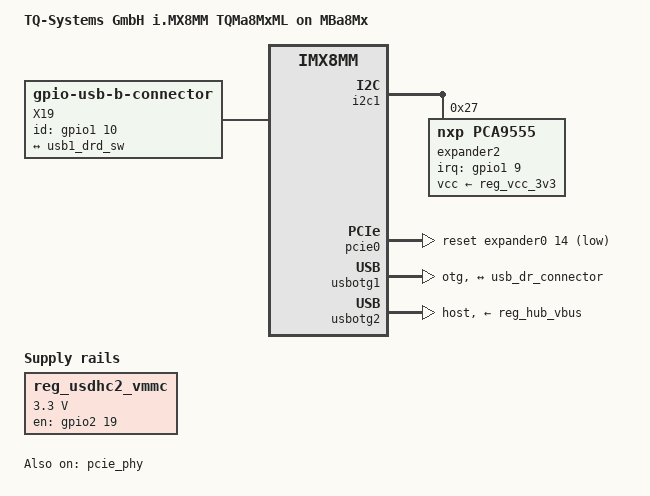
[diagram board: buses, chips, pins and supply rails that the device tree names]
// SPDX-License-Identifier: (GPL-2.0-or-later OR MIT)
/*
 * Copyright 2020-2021 TQ-Systems GmbH
 */

/dts-v1/;

#include "imx8mm-tqma8mqml.dtsi"
#include "mba8mx.dtsi"

/ {
	model = "TQ-Systems GmbH i.MX8MM TQMa8MxML on MBa8Mx";
	compatible = "tq,imx8mm-tqma8mqml-mba8mx", "tq,imx8mm-tqma8mqml", "fsl,imx8mm";
	chassis-type = "embedded";

	aliases {
		eeprom0 = &eeprom3;
		mmc0 = &usdhc3;
		mmc1 = &usdhc2;
		mmc2 = &usdhc1;
		rtc0 = &pcf85063;
		rtc1 = &snvs_rtc;
	};

	reg_usdhc2_vmmc: regulator-vmmc {
		compatible = "regulator-fixed";
		pinctrl-names = "default";
		pinctrl-0 = <&pinctrl_reg_usdhc2_vmmc>;
		regulator-name = "VSD_3V3";
		regulator-min-microvolt = <3300000>;
		regulator-max-microvolt = <3300000>;
		gpio = <&gpio2 19 GPIO_ACTIVE_HIGH>;
		enable-active-high;
		startup-delay-us = <100>;
		off-on-delay-us = <12000>;
	};

	connector {
		compatible = "gpio-usb-b-connector", "usb-b-connector";
		type = "micro";
		label = "X19";
		pinctrl-names = "default";
		pinctrl-0 = <&pinctrl_usb1_connector>;
		id-gpios = <&gpio1 10 GPIO_ACTIVE_HIGH>;

		ports {
			#address-cells = <1>;
			#size-cells = <0>;

			port@0 {
				reg = <0>;
				usb_dr_connector: endpoint {
					remote-endpoint = <&usb1_drd_sw>;
				};
			};
		};
	};
};

&i2c1 {
	expander2: gpio@27 {
		compatible = "nxp,pca9555";
		reg = <0x27>;
		gpio-controller;
		#gpio-cells = <2>;
		vcc-supply = <&reg_vcc_3v3>;
		pinctrl-names = "default";
		pinctrl-0 = <&pinctrl_expander>;
		interrupt-parent = <&gpio1>;
		interrupts = <9 IRQ_TYPE_EDGE_FALLING>;
		interrupt-controller;
		#interrupt-cells = <2>;
	};
};

&pcie_phy {
	clocks = <&pcie0_refclk>;
	status = "okay";
};

&pcie0 {
	reset-gpio = <&expander0 14 GPIO_ACTIVE_LOW>;
	clocks = <&clk IMX8MM_CLK_PCIE1_ROOT>, <&pcie0_refclk>,
		 <&clk IMX8MM_CLK_PCIE1_AUX>;
	assigned-clocks = <&clk IMX8MM_CLK_PCIE1_AUX>,
				<&clk IMX8MM_CLK_PCIE1_CTRL>;
	assigned-clock-rates = <10000000>, <250000000>;
	assigned-clock-parents = <&clk IMX8MM_SYS_PLL2_50M>,
				<&clk IMX8MM_SYS_PLL2_250M>;
	status = "okay";
};

&sai3 {
	assigned-clocks = <&clk IMX8MM_CLK_SAI3>;
	assigned-clock-parents = <&clk IMX8MM_AUDIO_PLL1_OUT>;
	clock-names = "bus", "mclk0", "mclk1", "mclk2", "mclk3", "pll8k", "pll11k";
	clocks = <&clk IMX8MM_CLK_SAI3_IPG>, <&clk IMX8MM_CLK_DUMMY>,
		<&clk IMX8MM_CLK_SAI3_ROOT>, <&clk IMX8MM_CLK_DUMMY>,
		<&clk IMX8MM_CLK_DUMMY>, <&clk IMX8MM_AUDIO_PLL1_OUT>,
		<&clk IMX8MM_AUDIO_PLL2_OUT>;
};

&tlv320aic3x04 {
	clock-names = "mclk";
	clocks = <&clk IMX8MM_CLK_SAI3_ROOT>;
};

&uart1 {
	assigned-clocks = <&clk IMX8MM_CLK_UART1>;
	assigned-clock-parents = <&clk IMX8MM_SYS_PLL1_80M>;
};

&uart2 {
	assigned-clocks = <&clk IMX8MM_CLK_UART2>;
	assigned-clock-parents = <&clk IMX8MM_SYS_PLL1_80M>;
};

&usbotg1 {
	pinctrl-names = "default";
	pinctrl-0 = <&pinctrl_usbotg1>;
	dr_mode = "otg";
	srp-disable;
	hnp-disable;
	adp-disable;
	power-active-high;
	over-current-active-low;
	usb-role-switch;
	status = "okay";

	port {
		usb1_drd_sw: endpoint {
			remote-endpoint = <&usb_dr_connector>;
		};
	};
};

&usbotg2 {
	dr_mode = "host";
	disable-over-current;
	vbus-supply = <&reg_hub_vbus>;
	status = "okay";
};

&iomuxc {
	pinctrl_ecspi1: ecspi1grp {
		fsl,pins = <MX8MM_IOMUXC_ECSPI1_SCLK_ECSPI1_SCLK	0x00000006>,
			   <MX8MM_IOMUXC_ECSPI1_MOSI_ECSPI1_MOSI	0x00000006>,
			   <MX8MM_IOMUXC_ECSPI1_MISO_ECSPI1_MISO	0x00000006>,
			   <MX8MM_IOMUXC_ECSPI1_SS0_GPIO5_IO9		0x00000006>;
	};

	pinctrl_ecspi2: ecspi2grp {
		fsl,pins = <MX8MM_IOMUXC_ECSPI2_SCLK_ECSPI2_SCLK	0x00000006>,
			   <MX8MM_IOMUXC_ECSPI2_MOSI_ECSPI2_MOSI	0x00000006>,
			   <MX8MM_IOMUXC_ECSPI2_MISO_ECSPI2_MISO	0x00000006>,
			   <MX8MM_IOMUXC_ECSPI2_SS0_GPIO5_IO13		0x00000006>;
	};

	pinctrl_expander: expandergrp {
		fsl,pins = <MX8MM_IOMUXC_GPIO1_IO09_GPIO1_IO9		0x94>;
	};

	pinctrl_fec1: fec1grp {
		fsl,pins = <MX8MM_IOMUXC_ENET_MDC_ENET1_MDC		0x40000002>,
			   <MX8MM_IOMUXC_ENET_MDIO_ENET1_MDIO		0x40000002>,
			   <MX8MM_IOMUXC_ENET_TD3_ENET1_RGMII_TD3	0x14>,
			   <MX8MM_IOMUXC_ENET_TD2_ENET1_RGMII_TD2	0x14>,
			   <MX8MM_IOMUXC_ENET_TD1_ENET1_RGMII_TD1	0x14>,
			   <MX8MM_IOMUXC_ENET_TD0_ENET1_RGMII_TD0	0x14>,
			   <MX8MM_IOMUXC_ENET_RD3_ENET1_RGMII_RD3	0x90>,
			   <MX8MM_IOMUXC_ENET_RD2_ENET1_RGMII_RD2	0x90>,
			   <MX8MM_IOMUXC_ENET_RD1_ENET1_RGMII_RD1	0x90>,
			   <MX8MM_IOMUXC_ENET_RD0_ENET1_RGMII_RD0	0x90>,
			   <MX8MM_IOMUXC_ENET_TXC_ENET1_RGMII_TXC	0x14>,
			   <MX8MM_IOMUXC_ENET_RXC_ENET1_RGMII_RXC	0x90>,
			   <MX8MM_IOMUXC_ENET_RX_CTL_ENET1_RGMII_RX_CTL	0x90>,
			   <MX8MM_IOMUXC_ENET_TX_CTL_ENET1_RGMII_TX_CTL	0x14>;
	};

	pinctrl_gpiobutton: gpiobuttongrp {
		fsl,pins = <MX8MM_IOMUXC_GPIO1_IO05_GPIO1_IO5		0x84>,
			   <MX8MM_IOMUXC_GPIO1_IO07_GPIO1_IO7		0x84>,
			   <MX8MM_IOMUXC_SD1_CLK_GPIO2_IO0		0x84>;
	};

	pinctrl_gpioled: gpioledgrp {
		fsl,pins = <MX8MM_IOMUXC_GPIO1_IO00_GPIO1_IO0		0x84>,
			   <MX8MM_IOMUXC_NAND_DQS_GPIO3_IO14		0x84>;
	};

	pinctrl_i2c2: i2c2grp {
		fsl,pins = <MX8MM_IOMUXC_I2C2_SCL_I2C2_SCL		0x40000004>,
			   <MX8MM_IOMUXC_I2C2_SDA_I2C2_SDA		0x40000004>;
	};

	pinctrl_i2c2_gpio: i2c2gpiogrp {
		fsl,pins = <MX8MM_IOMUXC_I2C2_SCL_GPIO5_IO16		0x40000004>,
			   <MX8MM_IOMUXC_I2C2_SDA_GPIO5_IO17		0x40000004>;
	};

	pinctrl_i2c3: i2c3grp {
		fsl,pins = <MX8MM_IOMUXC_I2C3_SCL_I2C3_SCL		0x40000004>,
			   <MX8MM_IOMUXC_I2C3_SDA_I2C3_SDA		0x40000004>;
	};

	pinctrl_i2c3_gpio: i2c3gpiogrp {
		fsl,pins = <MX8MM_IOMUXC_I2C3_SCL_GPIO5_IO18		0x40000004>,
			   <MX8MM_IOMUXC_I2C3_SDA_GPIO5_IO19		0x40000004>;
	};

	pinctrl_pwm3: pwm3grp {
		fsl,pins = <MX8MM_IOMUXC_GPIO1_IO14_PWM3_OUT		0x14>;
	};

	pinctrl_pwm4: pwm4grp {
		fsl,pins = <MX8MM_IOMUXC_GPIO1_IO15_PWM4_OUT		0x14>;
	};

	pinctrl_sai3: sai3grp {
		fsl,pins = <MX8MM_IOMUXC_SAI3_MCLK_SAI3_MCLK		0x94>,
			   <MX8MM_IOMUXC_SAI3_RXC_SAI3_RX_BCLK		0x94>,
			   <MX8MM_IOMUXC_SAI3_RXFS_SAI3_RX_SYNC		0x94>,
			   <MX8MM_IOMUXC_SAI3_RXD_SAI3_RX_DATA0		0x94>,
			   <MX8MM_IOMUXC_SAI3_TXFS_SAI3_TX_SYNC		0x94>,
			   <MX8MM_IOMUXC_SAI3_TXD_SAI3_TX_DATA0		0x94>,
			   <MX8MM_IOMUXC_SAI3_TXC_SAI3_TX_BCLK		0x94>;
	};

	pinctrl_uart1: uart1grp {
		fsl,pins = <MX8MM_IOMUXC_UART1_RXD_UART1_DCE_RX		0x16>,
			   <MX8MM_IOMUXC_UART1_TXD_UART1_DCE_TX		0x16>;
	};

	pinctrl_uart2: uart2grp {
		fsl,pins = <MX8MM_IOMUXC_UART2_RXD_UART2_DCE_RX		0x16>,
			   <MX8MM_IOMUXC_UART2_TXD_UART2_DCE_TX		0x16>;
	};

	pinctrl_uart3: uart3grp {
		fsl,pins = <MX8MM_IOMUXC_UART3_RXD_UART3_DCE_RX		0x16>,
			   <MX8MM_IOMUXC_UART3_TXD_UART3_DCE_TX		0x16>;
	};

	pinctrl_uart4: uart4grp {
		fsl,pins = <MX8MM_IOMUXC_UART4_RXD_UART4_DCE_RX		0x16>,
			   <MX8MM_IOMUXC_UART4_TXD_UART4_DCE_TX		0x16>;
	};

	pinctrl_usbotg1: usbotg1grp {
		fsl,pins = <MX8MM_IOMUXC_GPIO1_IO12_USB1_OTG_PWR	0x84>,
			   <MX8MM_IOMUXC_GPIO1_IO13_USB1_OTG_OC		0x84>;
	};

	pinctrl_usb1_connector: usb1-connectorgrp {
		fsl,pins = <MX8MM_IOMUXC_GPIO1_IO10_GPIO1_IO10		0x1c0>;
	};

	pinctrl_usdhc2_gpio: usdhc2grpgpiogrp {
		fsl,pins = <MX8MM_IOMUXC_SD2_CD_B_GPIO2_IO12		0x84>;
	};

	pinctrl_usdhc2: usdhc2grp {
		fsl,pins = <MX8MM_IOMUXC_SD2_CLK_USDHC2_CLK		0x1d4>,
			   <MX8MM_IOMUXC_SD2_CMD_USDHC2_CMD		0x1d4>,
			   <MX8MM_IOMUXC_SD2_DATA0_USDHC2_DATA0		0x1d4>,
			   <MX8MM_IOMUXC_SD2_DATA1_USDHC2_DATA1		0x1d4>,
			   <MX8MM_IOMUXC_SD2_DATA2_USDHC2_DATA2		0x1d4>,
			   <MX8MM_IOMUXC_SD2_DATA3_USDHC2_DATA3		0x1d4>,
			   <MX8MM_IOMUXC_GPIO1_IO04_USDHC2_VSELECT	0x84>;
	};

	pinctrl_usdhc2_100mhz: usdhc2-100mhzgrp {
		fsl,pins = <MX8MM_IOMUXC_SD2_CLK_USDHC2_CLK		0x1d4>,
			   <MX8MM_IOMUXC_SD2_CMD_USDHC2_CMD		0x1d4>,
			   <MX8MM_IOMUXC_SD2_DATA0_USDHC2_DATA0		0x1d4>,
			   <MX8MM_IOMUXC_SD2_DATA1_USDHC2_DATA1		0x1d4>,
			   <MX8MM_IOMUXC_SD2_DATA2_USDHC2_DATA2		0x1d4>,
			   <MX8MM_IOMUXC_SD2_DATA3_USDHC2_DATA3		0x1d4>,
			   <MX8MM_IOMUXC_GPIO1_IO04_USDHC2_VSELECT	0x84>;
	};

	pinctrl_usdhc2_200mhz: usdhc2-200mhzgrp {
		fsl,pins = <MX8MM_IOMUXC_SD2_CLK_USDHC2_CLK		0x1d4>,
			   <MX8MM_IOMUXC_SD2_CMD_USDHC2_CMD		0x1d4>,
			   <MX8MM_IOMUXC_SD2_DATA0_USDHC2_DATA0		0x1d4>,
			   <MX8MM_IOMUXC_SD2_DATA1_USDHC2_DATA1		0x1d4>,
			   <MX8MM_IOMUXC_SD2_DATA2_USDHC2_DATA2		0x1d4>,
			   <MX8MM_IOMUXC_SD2_DATA3_USDHC2_DATA3		0x1d4>,
			   <MX8MM_IOMUXC_GPIO1_IO04_USDHC2_VSELECT	0x84>;
	};
};
